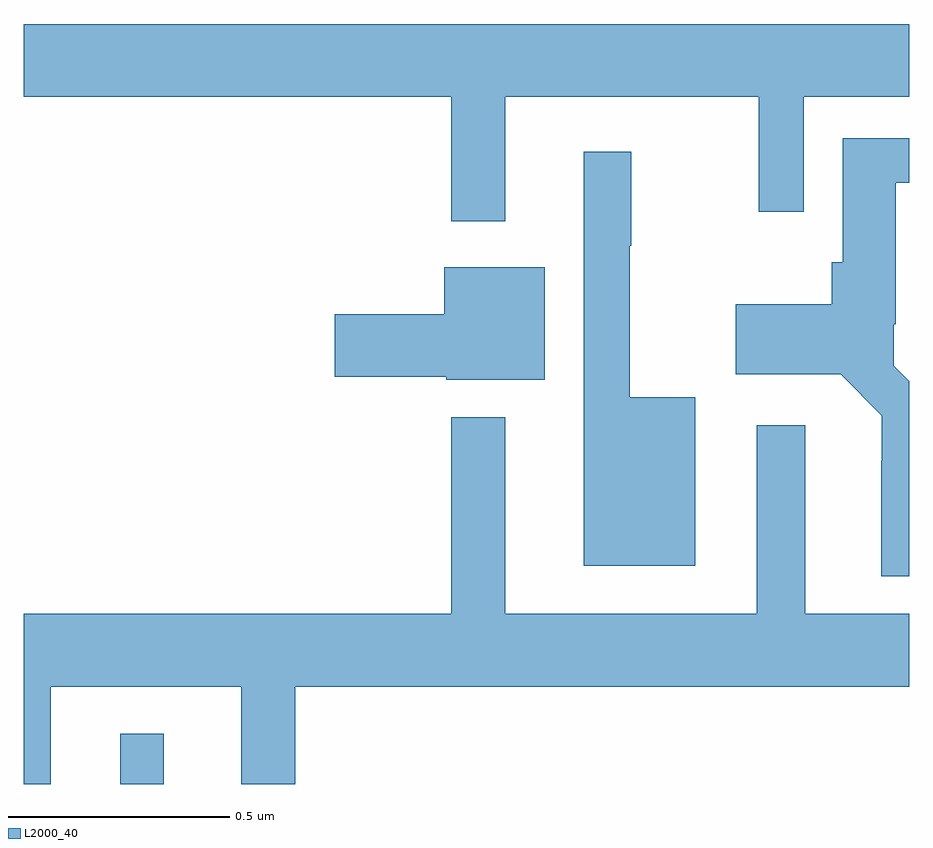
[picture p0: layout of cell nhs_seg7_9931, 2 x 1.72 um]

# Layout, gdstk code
import gdstk
lib = gdstk.Library(unit=1e-6, precision=1e-09)
def R(c, l, rs):  # rectangles x0, y0, x1, y1
    for r in rs: c.add(gdstk.rectangle(r[:2], r[2:], *l))
def P(c, l, *ps):  # polygons
    for p in ps: c.add(gdstk.Polygon(p, *l))
L2000_40 = (2000, 40)

nhs_seg7_9931 = lib.new_cell('nhs_seg7_9931')
R(nhs_seg7_9931, L2000_40, [(243.218,1063,243.316,1063.114)])
P(nhs_seg7_9931, L2000_40, [(244.087,1064.552),(244.66,1064.552),(244.66,1064.292),(244.761,1064.292),(244.761,1064.552),(245,1064.552),(245,1064.716),(243,1064.716),(243,1064.552),(243.966,1064.552),(243.966,1064.271),(244.087,1064.271)],
  [(245,1063.909),(244.965,1063.944),(244.965,1064.038),(244.969,1064.038),(244.969,1064.357),(245,1064.357),(245,1064.458),(244.85,1064.458),(244.85,1064.178),(244.825,1064.178),(244.825,1064.083),(244.608,1064.083),(244.608,1063.925),(244.845,1063.925),(244.938,1063.832),(244.938,1063.73),(244.937,1063.73),(244.937,1063.469),(245,1063.469)],
  [(244.516,1063.873),(244.369,1063.873),(244.369,1064.215),(244.372,1064.215),(244.372,1064.428),(244.265,1064.428),(244.265,1063.493),(244.516,1063.493)],
  [(244.177,1064.167),(243.95,1064.167),(243.95,1064.061),(243.702,1064.061),(243.702,1063.919),(243.954,1063.919),(243.954,1063.913),(244.177,1063.913)],
  [(243.061,1063.22),(243.491,1063.22),(243.491,1063),(243.613,1063),(243.613,1063.22),(245,1063.22),(245,1063.384),(244.765,1063.384),(244.765,1063.81),(244.655,1063.81),(244.655,1063.384),(244.087,1063.384),(244.087,1063.828),(243.966,1063.828),(243.966,1063.384),(243,1063.384),(243,1063),(243.061,1063)])

lib.write_gds('nhs_seg7_9931.gds')
